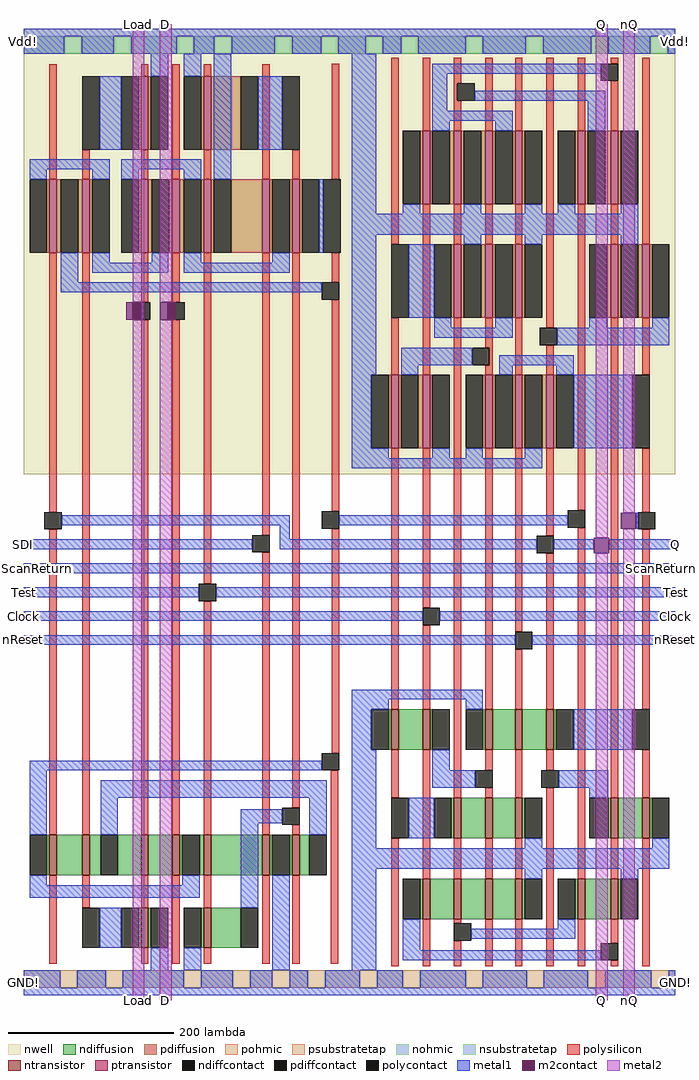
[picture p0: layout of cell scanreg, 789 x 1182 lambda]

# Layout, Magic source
magic
tech tsmc180
<< nwell >>
rect 0 637 789 1176
<< polysilicon >>
rect 31 994 40 1133
rect 142 1119 151 1133
rect 71 994 80 1030
rect 142 994 151 1030
rect 180 994 189 1133
rect 218 1119 227 1133
rect 218 994 227 1030
rect 289 994 298 1133
rect 325 994 334 1030
rect 373 994 382 1134
rect 445 915 454 1141
rect 483 1053 492 1141
rect 521 1110 530 1141
rect 521 1089 525 1110
rect 521 1053 530 1089
rect 559 1053 568 1141
rect 595 1053 604 1141
rect 31 591 40 905
rect 31 200 40 570
rect 71 200 80 905
rect 142 845 151 905
rect 180 845 189 905
rect 142 200 151 824
rect 180 200 189 824
rect 218 504 227 905
rect 289 563 298 905
rect 218 200 227 483
rect 289 200 298 542
rect 325 233 334 905
rect 373 869 382 905
rect 373 592 382 848
rect 445 757 454 826
rect 483 757 492 964
rect 521 915 530 964
rect 559 915 568 964
rect 595 915 604 964
rect 373 299 382 571
rect 445 352 454 668
rect 483 475 492 668
rect 483 352 492 454
rect 325 200 334 212
rect 31 44 40 151
rect 71 112 80 151
rect 142 112 151 151
rect 142 44 151 63
rect 180 44 189 151
rect 218 112 227 151
rect 218 44 227 63
rect 289 44 298 151
rect 325 44 334 151
rect 372 44 381 278
rect 445 245 454 303
rect 445 41 454 196
rect 483 147 492 303
rect 521 245 530 826
rect 559 790 568 826
rect 564 769 568 790
rect 559 757 568 769
rect 595 757 604 826
rect 633 814 642 1141
rect 671 1053 680 1141
rect 711 1134 720 1141
rect 711 1053 720 1113
rect 633 757 642 793
rect 559 352 568 668
rect 595 446 604 668
rect 633 562 642 668
rect 671 593 680 964
rect 711 915 720 964
rect 749 915 758 1141
rect 595 352 604 425
rect 633 352 642 541
rect 559 278 568 303
rect 559 245 568 257
rect 595 245 604 303
rect 633 278 642 303
rect 521 147 530 196
rect 559 147 568 196
rect 595 147 604 196
rect 483 41 492 98
rect 521 93 530 98
rect 521 41 530 72
rect 559 41 568 98
rect 595 41 604 98
rect 633 41 642 257
rect 671 147 680 572
rect 711 245 720 826
rect 749 757 758 826
rect 749 591 758 668
rect 749 352 758 570
rect 749 245 758 303
rect 711 147 720 196
rect 671 41 680 98
rect 711 69 720 98
rect 711 41 720 48
rect 749 41 758 196
<< ndiffusion >>
rect 442 303 445 352
rect 454 303 483 352
rect 492 303 495 352
rect 28 151 31 200
rect 40 151 71 200
rect 80 151 93 200
rect 114 151 142 200
rect 151 151 180 200
rect 189 151 192 200
rect 213 151 218 200
rect 227 151 289 200
rect 298 151 301 200
rect 322 151 325 200
rect 334 151 346 200
rect 139 63 142 112
rect 151 63 154 112
rect 215 63 218 112
rect 227 63 263 112
rect 556 303 559 352
rect 568 303 595 352
rect 604 303 633 352
rect 642 303 645 352
rect 518 196 521 245
rect 530 196 559 245
rect 568 196 595 245
rect 604 196 607 245
rect 480 98 483 147
rect 492 98 521 147
rect 530 98 559 147
rect 568 98 595 147
rect 604 98 607 147
rect 708 196 711 245
rect 720 196 749 245
rect 758 196 761 245
rect 668 98 671 147
rect 680 98 711 147
rect 720 98 723 147
<< pdiffusion >>
rect 139 1030 142 1119
rect 151 1030 154 1119
rect 215 1030 218 1119
rect 227 1030 263 1119
rect 28 905 31 994
rect 40 905 45 994
rect 66 905 71 994
rect 80 905 83 994
rect 139 905 142 994
rect 151 905 155 994
rect 176 905 180 994
rect 189 905 194 994
rect 215 905 218 994
rect 227 905 230 994
rect 251 905 289 994
rect 298 905 301 994
rect 322 905 325 994
rect 334 905 337 994
rect 480 964 483 1053
rect 492 964 495 1053
rect 516 964 521 1053
rect 530 964 533 1053
rect 554 964 559 1053
rect 568 964 571 1053
rect 592 964 595 1053
rect 604 964 607 1053
rect 518 826 521 915
rect 530 826 533 915
rect 554 826 559 915
rect 568 826 571 915
rect 592 826 595 915
rect 604 826 607 915
rect 442 668 445 757
rect 454 668 457 757
rect 478 668 483 757
rect 492 668 495 757
rect 668 964 671 1053
rect 680 964 683 1053
rect 704 964 711 1053
rect 720 964 723 1053
rect 556 668 559 757
rect 568 668 571 757
rect 592 668 595 757
rect 604 668 607 757
rect 628 668 633 757
rect 642 668 645 757
rect 706 826 711 915
rect 720 826 723 915
rect 744 826 749 915
rect 758 826 761 915
<< pohmic >>
rect 0 15 44 36
rect 65 15 99 36
rect 120 15 194 36
rect 215 15 253 36
rect 274 15 301 36
rect 322 15 344 36
rect 365 15 407 36
rect 428 15 459 36
rect 480 15 535 36
rect 556 15 609 36
rect 630 15 683 36
rect 704 15 760 36
rect 781 15 789 36
<< nohmic >>
rect 0 1146 49 1167
rect 70 1146 109 1167
rect 130 1146 185 1167
rect 206 1146 231 1167
rect 252 1146 304 1167
rect 325 1146 360 1167
rect 381 1146 414 1167
rect 435 1146 457 1167
rect 478 1146 535 1167
rect 556 1146 608 1167
rect 629 1146 687 1167
rect 708 1146 759 1167
rect 780 1146 789 1167
<< ntransistor >>
rect 445 303 454 352
rect 483 303 492 352
rect 31 151 40 200
rect 71 151 80 200
rect 142 151 151 200
rect 180 151 189 200
rect 218 151 227 200
rect 289 151 298 200
rect 325 151 334 200
rect 142 63 151 112
rect 218 63 227 112
rect 559 303 568 352
rect 595 303 604 352
rect 633 303 642 352
rect 521 196 530 245
rect 559 196 568 245
rect 595 196 604 245
rect 483 98 492 147
rect 521 98 530 147
rect 559 98 568 147
rect 595 98 604 147
rect 711 196 720 245
rect 749 196 758 245
rect 671 98 680 147
rect 711 98 720 147
<< ptransistor >>
rect 142 1030 151 1119
rect 218 1030 227 1119
rect 31 905 40 994
rect 71 905 80 994
rect 142 905 151 994
rect 180 905 189 994
rect 218 905 227 994
rect 289 905 298 994
rect 325 905 334 994
rect 483 964 492 1053
rect 521 964 530 1053
rect 559 964 568 1053
rect 595 964 604 1053
rect 521 826 530 915
rect 559 826 568 915
rect 595 826 604 915
rect 445 668 454 757
rect 483 668 492 757
rect 671 964 680 1053
rect 711 964 720 1053
rect 559 668 568 757
rect 595 668 604 757
rect 633 668 642 757
rect 711 826 720 915
rect 749 826 758 915
<< polycontact >>
rect 71 1030 92 1119
rect 313 1030 334 1119
rect 363 905 384 994
rect 525 1089 546 1110
rect 25 570 46 591
rect 132 824 153 845
rect 174 824 195 845
rect 277 542 298 563
rect 212 483 233 504
rect 361 848 382 869
rect 445 826 466 915
rect 361 571 382 592
rect 483 454 504 475
rect 361 278 382 299
rect 313 212 334 233
rect 71 63 92 112
rect 445 196 466 245
rect 543 769 564 790
rect 699 1113 720 1134
rect 625 793 646 814
rect 659 572 680 593
rect 621 541 642 562
rect 595 425 616 446
rect 547 257 568 278
rect 627 257 648 278
rect 521 72 542 93
rect 737 668 758 757
rect 744 570 765 591
rect 737 303 758 352
rect 699 48 720 69
<< ndiffcontact >>
rect 421 303 442 352
rect 495 303 516 352
rect 7 151 28 200
rect 93 151 114 200
rect 192 151 213 200
rect 301 151 322 200
rect 346 151 367 200
rect 118 63 139 112
rect 154 63 175 112
rect 194 63 215 112
rect 263 63 284 112
rect 535 303 556 352
rect 645 303 666 352
rect 497 196 518 245
rect 607 196 628 245
rect 459 98 480 147
rect 607 98 628 147
rect 685 196 708 245
rect 761 196 782 245
rect 647 98 668 147
rect 723 98 744 147
<< pdiffcontact >>
rect 118 1030 139 1119
rect 154 1030 175 1119
rect 194 1030 215 1119
rect 263 1030 284 1119
rect 7 905 28 994
rect 45 905 66 994
rect 83 905 104 994
rect 118 905 139 994
rect 155 905 176 994
rect 194 905 215 994
rect 230 905 251 994
rect 301 905 322 994
rect 337 905 358 994
rect 459 964 480 1053
rect 495 964 516 1053
rect 533 964 554 1053
rect 571 964 592 1053
rect 607 964 628 1053
rect 497 826 518 915
rect 533 826 554 915
rect 571 826 592 915
rect 607 826 628 915
rect 421 668 442 757
rect 457 668 478 757
rect 495 668 516 757
rect 647 964 668 1053
rect 683 964 704 1053
rect 723 964 744 1053
rect 535 668 556 757
rect 571 668 592 757
rect 607 668 628 757
rect 645 668 666 757
rect 685 826 706 915
rect 723 826 744 915
rect 761 826 782 915
<< psubstratetap >>
rect 44 15 65 36
rect 99 15 120 36
rect 194 15 215 36
rect 253 15 274 36
rect 301 15 322 36
rect 344 15 365 36
rect 407 15 428 36
rect 459 15 480 36
rect 535 15 556 36
rect 609 15 630 36
rect 683 15 704 36
rect 760 15 781 36
<< nsubstratetap >>
rect 49 1146 70 1167
rect 109 1146 130 1167
rect 185 1146 206 1167
rect 231 1146 252 1167
rect 304 1146 325 1167
rect 360 1146 381 1167
rect 414 1146 435 1167
rect 457 1146 478 1167
rect 535 1146 556 1167
rect 608 1146 629 1167
rect 687 1146 708 1167
rect 759 1146 780 1167
<< metal1 >>
rect 0 1167 789 1176
rect 0 1146 49 1167
rect 70 1146 109 1167
rect 130 1146 185 1167
rect 206 1146 231 1167
rect 252 1146 304 1167
rect 325 1146 360 1167
rect 381 1146 414 1167
rect 435 1146 457 1167
rect 478 1146 535 1167
rect 556 1146 608 1167
rect 629 1146 687 1167
rect 708 1146 759 1167
rect 780 1146 789 1167
rect 154 1119 175 1146
rect 92 1030 118 1119
rect 194 1119 215 1146
rect 7 1006 104 1018
rect 7 994 28 1006
rect 83 994 104 1006
rect 45 869 66 905
rect 118 1006 215 1018
rect 118 994 139 1006
rect 194 994 215 1006
rect 230 994 251 1146
rect 284 1030 313 1119
rect 358 905 363 994
rect 397 952 427 1146
rect 495 1122 699 1134
rect 495 1077 513 1122
rect 546 1089 704 1101
rect 495 1065 592 1077
rect 495 1053 516 1065
rect 571 1053 592 1065
rect 683 1053 704 1089
rect 459 952 480 964
rect 533 952 554 964
rect 607 952 628 964
rect 647 952 668 964
rect 723 952 744 964
rect 397 927 744 952
rect 83 893 104 905
rect 155 893 175 905
rect 83 881 175 893
rect 194 893 215 905
rect 301 893 322 905
rect 194 881 322 893
rect 45 857 361 869
rect 397 757 427 927
rect 533 915 554 927
rect 607 915 628 927
rect 723 915 744 927
rect 466 826 497 915
rect 497 814 518 826
rect 571 814 592 826
rect 685 814 706 826
rect 761 814 782 826
rect 497 802 592 814
rect 646 793 782 814
rect 457 769 543 790
rect 576 769 666 781
rect 457 757 478 769
rect 576 757 592 769
rect 645 757 666 769
rect 397 668 421 757
rect 397 656 442 668
rect 495 656 516 668
rect 666 668 737 757
rect 535 656 556 668
rect 607 656 628 668
rect 397 644 628 656
rect 46 575 322 587
rect 0 546 277 558
rect 310 558 322 575
rect 382 575 659 587
rect 742 571 744 590
rect 310 546 621 558
rect 642 546 690 558
rect 709 546 789 558
rect 0 517 789 529
rect 0 488 212 500
rect 233 488 789 500
rect 0 459 483 471
rect 504 459 789 471
rect 0 430 595 442
rect 616 430 789 442
rect 397 364 556 376
rect 397 352 442 364
rect 535 352 556 364
rect 397 303 421 352
rect 666 303 737 352
rect 7 278 361 290
rect 7 200 28 278
rect 93 245 367 266
rect 93 200 114 245
rect 263 214 313 231
rect 7 139 28 151
rect 192 139 213 151
rect 7 124 213 139
rect 263 112 284 214
rect 346 200 367 245
rect 92 63 118 112
rect 154 36 175 63
rect 397 184 427 303
rect 495 278 516 303
rect 495 257 547 278
rect 648 257 708 278
rect 685 245 708 257
rect 466 196 497 245
rect 607 184 628 196
rect 761 184 782 196
rect 397 159 782 184
rect 194 36 215 63
rect 301 36 322 151
rect 397 36 427 159
rect 607 147 628 159
rect 723 147 744 159
rect 459 60 480 98
rect 647 86 668 98
rect 542 74 668 86
rect 459 48 699 60
rect 0 15 44 36
rect 65 15 99 36
rect 120 15 194 36
rect 215 15 253 36
rect 274 15 301 36
rect 322 15 344 36
rect 365 15 407 36
rect 428 15 459 36
rect 480 15 535 36
rect 556 15 609 36
rect 630 15 683 36
rect 704 15 760 36
rect 781 15 789 36
rect 0 6 789 15
<< m2contact >>
rect 124 824 132 845
rect 132 824 143 845
rect 165 824 174 845
rect 174 824 184 845
rect 723 571 742 590
rect 690 541 709 560
<< metal2 >>
rect 132 845 146 1182
rect 143 824 146 845
rect 132 0 146 824
rect 165 845 179 1182
rect 165 0 179 824
rect 693 560 707 1182
rect 726 590 740 1182
rect 693 0 707 541
rect 726 0 740 571
<< labels >>
rlabel metal2 132 1182 146 1182 5 Load
rlabel metal2 165 1182 179 1182 5 D
rlabel metal1 0 1146 0 1176 3 Vdd!
rlabel metal1 0 459 0 471 3 Clock
rlabel metal1 0 488 0 500 3 Test
rlabel metal1 0 517 0 529 3 ScanReturn
rlabel metal1 0 546 0 558 3 SDI
rlabel metal1 0 430 0 442 3 nReset
rlabel metal2 165 0 179 0 1 D
rlabel metal2 132 0 146 0 1 Load
rlabel metal1 0 6 0 36 3 GND!
rlabel metal1 789 6 789 36 7 GND!
rlabel metal1 789 517 789 529 7 ScanReturn
rlabel metal1 789 546 789 558 7 Q
rlabel metal1 789 488 789 500 7 Test
rlabel metal1 789 459 789 471 7 Clock
rlabel metal1 789 430 789 442 7 nReset
rlabel metal2 726 0 740 0 1 nQ
rlabel metal2 726 1182 740 1182 5 nQ
rlabel metal2 693 1182 707 1182 5 Q
rlabel metal2 693 0 707 0 1 Q
rlabel metal1 789 1146 789 1176 7 Vdd!
<< end >>
